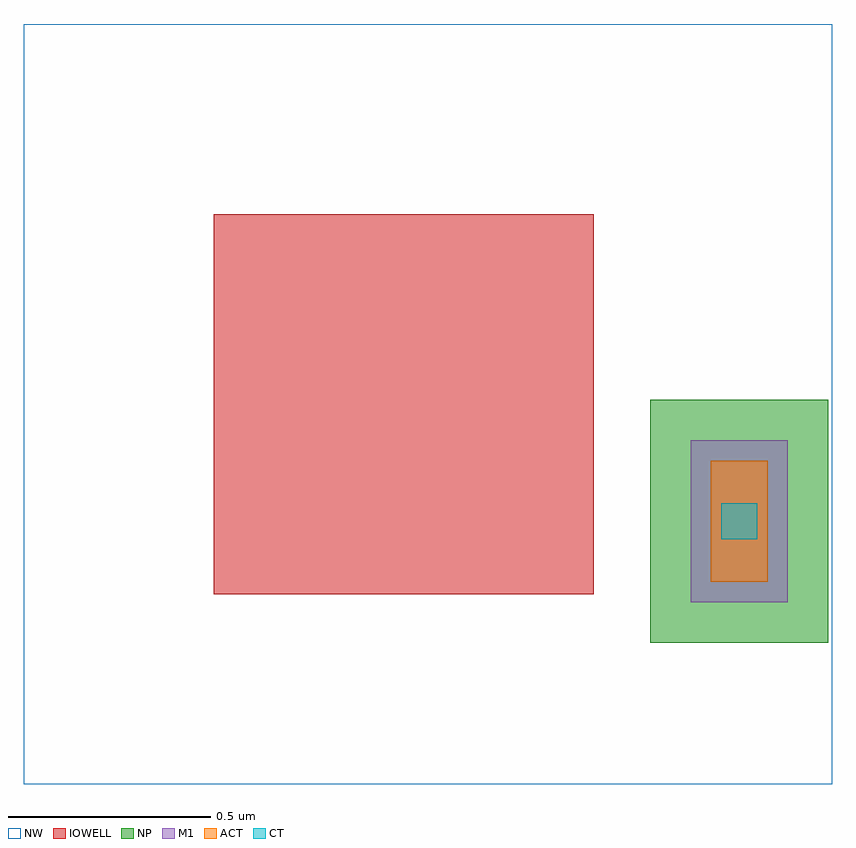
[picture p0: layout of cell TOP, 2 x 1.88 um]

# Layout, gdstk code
import gdstk
lib = gdstk.Library(unit=1e-6, precision=1e-09)
def R(c, l, rs):  # rectangles x0, y0, x1, y1
    for r in rs: c.add(gdstk.rectangle(r[:2], r[2:], *l))
ACT = (2, 1)
NW = (9, 1)
IOWELL = (28, 1)
NP = (52, 1)
CT = (72, 1)
M1 = (81, 1)

top = lib.new_cell('TOP')
R(top, ACT, [(1.7,0.5,1.84,0.8)])
R(top, NW, [(0,0,2,1.88)])
R(top, IOWELL, [(0.47,0.47,1.41,1.41)])
R(top, NP, [(1.55,0.35,1.99,0.95)])
R(top, CT, [(1.725,0.605,1.815,0.695)])
R(top, M1, [(1.65,0.45,1.89,0.85)])

lib.write_gds('TOP.gds')
